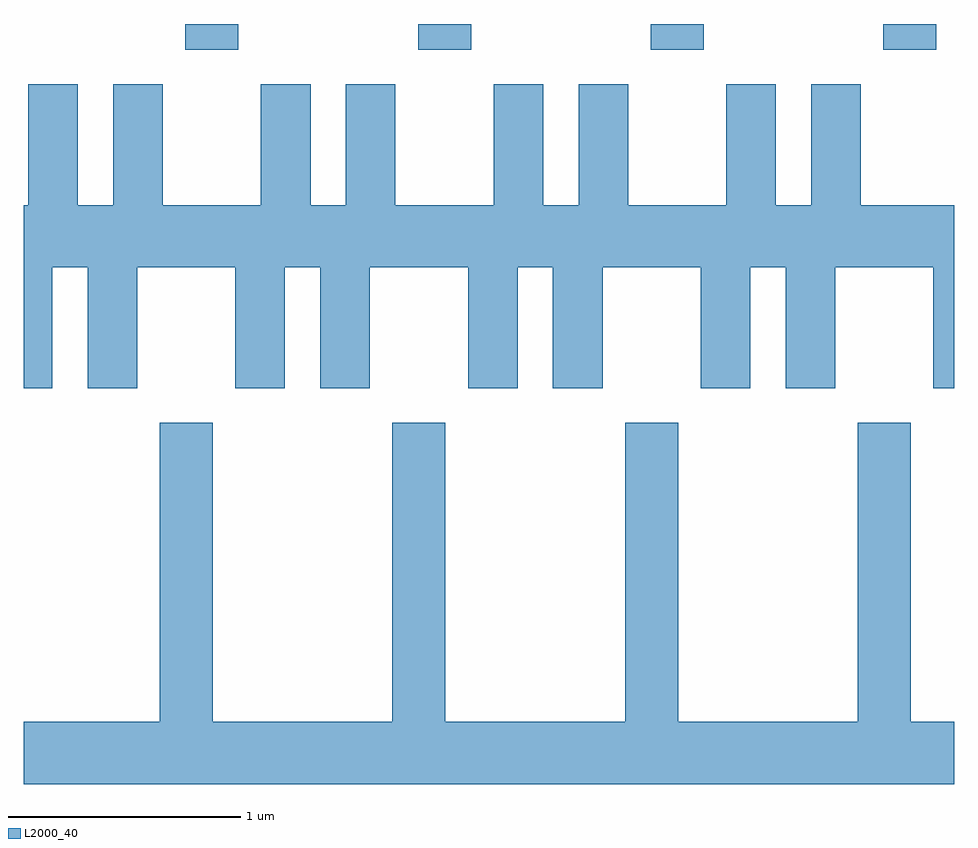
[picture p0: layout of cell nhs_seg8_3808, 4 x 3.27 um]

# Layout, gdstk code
import gdstk
lib = gdstk.Library(unit=1e-6, precision=1e-09)
def R(c, l, rs):  # rectangles x0, y0, x1, y1
    for r in rs: c.add(gdstk.rectangle(r[:2], r[2:], *l))
def A(c, l, x, y, w, h, nx, ny, dx, dy):  # array of equal rectangles
    R(c, l, [(x+i*dx, y+j*dy, x+i*dx+w, y+j*dy+h) for i in range(nx) for j in range(ny)])
def P(c, l, *ps):  # polygons
    for p in ps: c.add(gdstk.Polygon(p, *l))
L2000_40 = (2000, 40)

nhs_seg8_3808 = lib.new_cell('nhs_seg8_3808')
A(nhs_seg8_3808, L2000_40, 300.306, 1846.231, 0.228, 0.111, 4, 1, 1, 0)
P(nhs_seg8_3808, L2000_40, [(299.734,1845.296),(299.886,1845.296),(299.886,1844.776),(300.099,1844.776),(300.099,1845.296),(300.521,1845.296),(300.521,1844.776),(300.734,1844.776),(300.734,1845.296),(300.886,1845.296),(300.886,1844.776),(301.099,1844.776),(301.099,1845.296),(301.521,1845.296),(301.521,1844.776),(301.734,1844.776),(301.734,1845.296),(301.886,1845.296),(301.886,1844.776),(302.099,1844.776),(302.099,1845.296),(302.521,1845.296),(302.521,1844.776),(302.734,1844.776),(302.734,1845.296),(302.886,1845.296),(302.886,1844.776),(303.099,1844.776),(303.099,1845.296),(303.521,1845.296),(303.521,1844.776),(303.611,1844.776),(303.611,1845.564),(303.209,1845.564),(303.209,1846.084),(302.996,1846.084),(302.996,1845.564),(302.844,1845.564),(302.844,1846.084),(302.631,1846.084),(302.631,1845.564),(302.209,1845.564),(302.209,1846.084),(301.996,1846.084),(301.996,1845.564),(301.844,1845.564),(301.844,1846.084),(301.631,1846.084),(301.631,1845.564),(301.209,1845.564),(301.209,1846.084),(300.996,1846.084),(300.996,1845.564),(300.844,1845.564),(300.844,1846.084),(300.631,1846.084),(300.631,1845.564),(300.209,1845.564),(300.209,1846.084),(299.996,1846.084),(299.996,1845.564),(299.844,1845.564),(299.844,1846.084),(299.631,1846.084),(299.631,1845.564),(299.611,1845.564),(299.611,1844.776),(299.734,1844.776)],
  [(303.611,1843.344),(303.424,1843.344),(303.424,1844.629),(303.196,1844.629),(303.196,1843.344),(302.424,1843.344),(302.424,1844.629),(302.196,1844.629),(302.196,1843.344),(301.424,1843.344),(301.424,1844.629),(301.196,1844.629),(301.196,1843.344),(300.424,1843.344),(300.424,1844.629),(300.196,1844.629),(300.196,1843.344),(299.611,1843.344),(299.611,1843.076),(303.611,1843.076)])

lib.write_gds('nhs_seg8_3808.gds')
